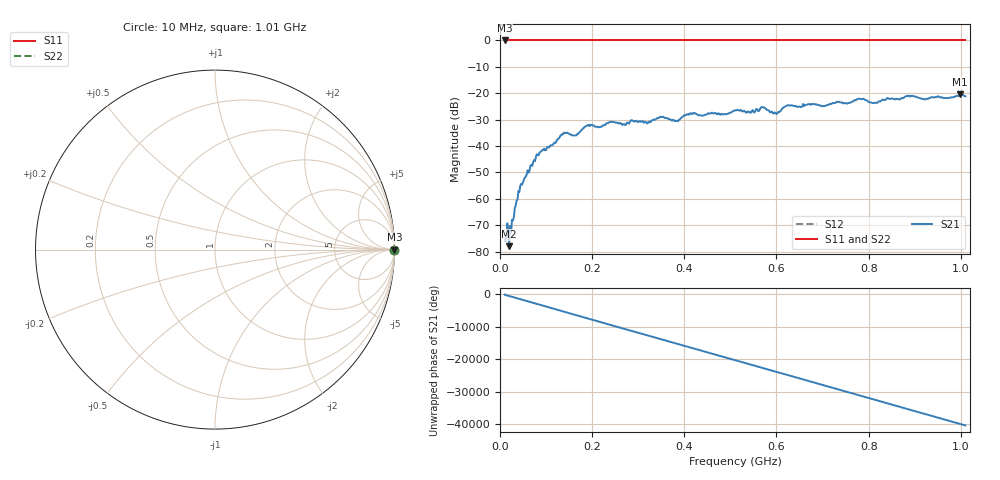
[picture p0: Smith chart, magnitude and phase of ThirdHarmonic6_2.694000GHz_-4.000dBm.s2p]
! 8/17/2025 6:24:28 AM
! C:\ANRITSUVNA\TEMP\TEMP.S2P
! CHANNEL.1
! TR.MEASUREMENT
! RAW.DATA
! RF.CORRECTION.OFF
! AVERAGING.OFF
! IF.BANDWIDTH: 5KHZ
! SWEEPTYPE:  FREQ.SWEEP(Linear)
! Reference Plane Port Info
! PORT:  PORT1  PORT2
! DISTANCE:  0  m  0  m
! TIME:  0  s  0  s
! PHASE.OFFSET:  0  deg.  0  deg.
! LOSS:  0  dB  0  dB
! REF.LOSS:  0  dB  0  dB
! REF.FREQ:  0  Hz  0  Hz
! Power Info
! POWER:  -20  dBm  -20  dBm
! EFF.POWER:  -20  dBm  -20  dBm
! SOURCE.ATTEN:  0  dB  0  dB
! TEST.ATTEN:  0  dB  0  dB
# GHZ S RI R 50.0
! FREQ.GHZ  S11RE  S11IM  S21RE  S21IM  S12RE  S12IM  S22RE  S22IM
!; PortSelection: Port_12
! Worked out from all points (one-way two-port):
!   501 points, 10 MHz to 1.01 GHz, reference 50 ohm
!   highest |S21| = -20.46 dB at 998 MHz (marker M1); lowest = -78.0 dB at 20 MHz (marker M2)
!   lowest |S11| = 0.0 dB at 10 MHz (marker M3)
!   |S11| at or under -10 dB: nowhere
!   |S22| runs from 0.0 to 0.0 dB; largest |S21 - S12| = 1.1
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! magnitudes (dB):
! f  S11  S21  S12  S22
! 10 MHz  0.0  -75.1  0.0  0.0
! 20 MHz  0.0  -78.0  0.0  0.0
! 24 MHz  0.0  -72.9  0.0  0.0
! 44 MHz  0.0  -55.1  0.0  0.0
! 82 MHz  0.0  -43.4  0.0  0.0
! 136 MHz  0.0  -35.7  0.0  0.0
! 162 MHz  0.0  -36.0  0.0  0.0
! 178 MHz  0.0  -33.8  0.0  0.0
! 194 MHz  0.0  -32.5  0.0  0.0
! 344 MHz  0.0  -29.5  0.0  0.0
! 384 MHz  0.0  -30.4  0.0  0.0
! 416 MHz  0.0  -27.9  0.0  0.0
! 510 MHz  0.0  -26.5  0.0  0.0
! 570 MHz  0.0  -25.3  0.0  0.0
! 598 MHz  0.0  -27.5  0.0  0.0
! 624 MHz  0.0  -24.6  0.0  0.0
! 678 MHz  0.0  -24.0  0.0  0.0
! 780 MHz  0.0  -22.1  0.0  0.0
! 814 MHz  0.0  -23.6  0.0  0.0
! 844 MHz  0.0  -22.0  0.0  0.0
! 998 MHz  0.0  -20.5  0.0  0.0
! 1.01 GHz  0.0  -21.1  0.0  0.0
